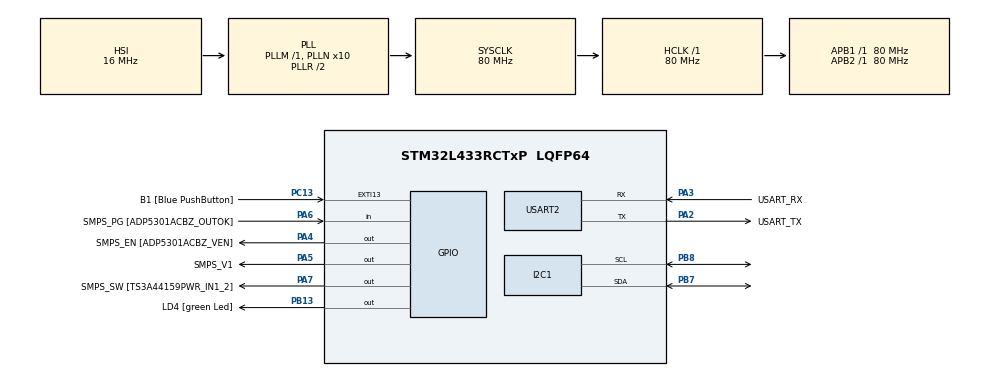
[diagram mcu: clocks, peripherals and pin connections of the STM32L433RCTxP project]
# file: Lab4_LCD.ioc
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I2C1.Timing=0x10D19CE4
Mcu.Family=STM32L4
Mcu.Name=STM32L433RCTxP
Mcu.Package=LQFP64
NVIC.PriorityGroup=NVIC_PRIORITYGROUP_4
NVIC.TIM2_IRQn=true\:0\:0\:false\:false\:true\:true\:true\:true
NVIC.TIM6_DAC_IRQn=true\:0\:0\:false\:false\:true\:true\:true\:true
PA13\ (JTMS-SWDIO).GPIO_Label=TMS
PA13\ (JTMS-SWDIO).Mode=Serial_Wire
PA13\ (JTMS-SWDIO).Signal=SYS_JTMS-SWDIO
PA14\ (JTCK-SWCLK).GPIO_Label=TCK
PA14\ (JTCK-SWCLK).Mode=Serial_Wire
PA14\ (JTCK-SWCLK).Signal=SYS_JTCK-SWCLK
PA2.GPIO_Label=USART_TX
PA2.GPIO_Mode=GPIO_MODE_AF_PP
PA2.GPIO_PuPd=GPIO_NOPULL
PA2.GPIO_Speed=GPIO_SPEED_FREQ_VERY_HIGH
PA2.Mode=Asynchronous
PA2.Signal=USART2_TX
PA3.GPIO_Label=USART_RX
PA3.GPIO_Mode=GPIO_MODE_AF_PP
PA3.GPIO_PuPd=GPIO_NOPULL
PA3.GPIO_Speed=GPIO_SPEED_FREQ_VERY_HIGH
PA3.Mode=Asynchronous
PA3.Signal=USART2_RX
PA4.GPIO_Label=SMPS_EN [ADP5301ACBZ_VEN]
PA4.Signal=GPIO_Output
PA5.GPIO_Label=SMPS_V1
PA5.GPIO_ModeDefaultOutputPP=GPIO_MODE_OUTPUT_PP
PA5.GPIO_PuPd=GPIO_NOPULL
PA5.GPIO_Speed=GPIO_SPEED_FREQ_LOW
PA5.Signal=GPIO_Output
PA6.GPIO_Label=SMPS_PG [ADP5301ACBZ_OUTOK]
PA6.GPIO_PuPd=GPIO_PULLUP
PA6.Signal=GPIO_Input
PA7.GPIO_Label=SMPS_SW [TS3A44159PWR_IN1_2]
PA7.Signal=GPIO_Output
PB13.GPIO_Label=LD4 [green Led]
PB13.Signal=GPIO_Output
PB3\ (JTDO-TRACESWO).GPIO_Label=SWO
PB3\ (JTDO-TRACESWO).Signal=SYS_JTDO-SWO
PB7.Mode=I2C
PB7.Signal=I2C1_SDA
PB8.Mode=I2C
PB8.Signal=I2C1_SCL
PC13.GPIO_Label=B1 [Blue PushButton]
PC13.GPIO_ModeDefaultEXTI=GPIO_MODE_IT_FALLING
PC13.GPIO_PuPd=GPIO_NOPULL
PC13.Signal=GPXTI13
PC14-OSC32_IN\ (PC14).Mode=LSE-External-Oscillator
PC14-OSC32_IN\ (PC14).Signal=RCC_OSC32_IN
PC15-OSC32_OUT\ (PC15).Mode=LSE-External-Oscillator
PC15-OSC32_OUT\ (PC15).Signal=RCC_OSC32_OUT
PH0-OSC_IN\ (PH0).GPIO_Label=MCO
PH0-OSC_IN\ (PH0).Mode=HSE-External-Clock-Source
PH0-OSC_IN\ (PH0).Signal=RCC_OSC_IN
PH1-OSC_OUT\ (PH1).Signal=RCC_OSC_OUT
ProjectManager.HeapSize=0x200
ProjectManager.StackSize=0x400
ProjectManager.TargetToolchain=STM32CubeIDE
RCC.ADCFreq_Value=64000000
RCC.AHBFreq_Value=80000000
RCC.APB1Freq_Value=80000000
RCC.APB1TimFreq_Value=80000000
RCC.APB2Freq_Value=80000000
RCC.APB2TimFreq_Value=80000000
RCC.CortexFreq_Value=80000000
RCC.HCLKFreq_Value=80000000
RCC.HSE_VALUE=8000000
RCC.HSI48_VALUE=48000000
RCC.HSI_VALUE=16000000
RCC.MSI_VALUE=4000000
RCC.PLLN=10
RCC.PLLSourceVirtual=RCC_PLLSOURCE_HSI
RCC.PREFETCH_ENABLE=1
RCC.SYSCLKFreq_VALUE=80000000
RCC.SYSCLKSource=RCC_SYSCLKSOURCE_PLLCLK
RCC.USBFreq_Value=64000000
RCC.VCOOutputFreq_Value=160000000
TIM2.AutoReloadPreload=TIM_AUTORELOAD_PRELOAD_DISABLE
TIM2.Period=4000000000
TIM2.Prescaler=0
TIM6.Period=9999
TIM6.Prescaler=7999
USART2.VirtualMode-Asynchronous=VM_ASYNC
VP_TIM2_VS_ClockSourceINT.Mode=Internal
VP_TIM6_VS_ClockSourceINT.Mode=Enable_Timer
board=NUCLEO-L433RC-P

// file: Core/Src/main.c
/* USER CODE BEGIN Header */
/**
  ******************************************************************************
  * @file           : main.c
  * @brief          : Main program body
  ******************************************************************************
  * @attention
  *
  * Copyright (c) 2025 STMicroelectronics.
  * All rights reserved.
  *
  * This software is licensed under terms that can be found in the LICENSE file
  * in the root directory of this software component.
  * If no LICENSE file comes with this software, it is provided AS-IS.
  *
  ******************************************************************************
  */
/* USER CODE END Header */
#include "main.h"

/* USER CODE BEGIN Includes */
#include <stdio.h>
#include "lcd.h"
#include <string.h>
/* USER CODE END Includes */

/* USER CODE BEGIN PTD */
struct clock_data {
	/* clock variabler */

	int hours;
	int minutes;
	int seconds;
};

struct clock_data my_clock;

/* USER CODE END PTD */

I2C_HandleTypeDef hi2c1;

TIM_HandleTypeDef htim2;
TIM_HandleTypeDef htim6;

UART_HandleTypeDef huart2;

void SystemClock_Config(void);
static void MX_GPIO_Init(void);
static void MX_USART2_UART_Init(void);
static void MX_TIM2_Init(void);
static void MX_I2C1_Init(void);
static void MX_TIM6_Init(void);
/* USER CODE BEGIN PFP */

void cd_tick(struct clock_data * pcd);
void HAL_TIM_PeriodElapsedCallback(TIM_HandleTypeDef *htim);
void uart_print_cd(	UART_HandleTypeDef * huart, struct clock_data * pcd);

void wait_for_button_press();

void cd_set(struct clock_data * pcd, uint8_t hrs, uint8_t min, uint8_t sec);

/* USER CODE END PFP */

/* USER CODE BEGIN 0 */

void cd_set(struct clock_data * pcd, uint8_t hrs, uint8_t min, uint8_t sec)
{
	pcd->hours 		= hrs;
	pcd->minutes 	= min;
	pcd->seconds	= sec;
}

void wait_for_button_press()
{
	while(!HAL_GPIO_ReadPin(B1_GPIO_Port, B1_Pin)) {
		/* do nothing */
	}
}

int flag = 0;

void cd_tick(struct clock_data * pcd)
{
	uint8_t seconds = pcd->seconds;
	uint8_t minutes = pcd->minutes;
	uint8_t hours 	= pcd->hours;

	seconds++;
	if (seconds > 59) {
		seconds = 0;
  		minutes++;
		if (minutes > 59) {
  			minutes = 0;
		  	hours++;
			if (hours > 23) {
				hours = 0;
		  	}
		}
	}

	cd_set(pcd, hours, minutes, seconds);
}

void uart_print_cd(	UART_HandleTypeDef * huart, struct clock_data * pcd)
{
	char str[10];
	sprintf(str, "%02d:%02d:%02d\r", pcd->hours, pcd->minutes, pcd->seconds);
	HAL_UART_Transmit(&huart2, (uint8_t*) str, strlen(str), HAL_MAX_DELAY);
}

void HAL_TIM_PeriodElapsedCallback(TIM_HandleTypeDef *htim)
{
  if (htim->Instance == TIM6)
  {
	  //flag = 1;
	  cd_tick(&my_clock);
  }
}
/* USER CODE END 0 */

int main(void)
{

  /* MCU Configuration--------------------------------------------------------*/

  /* Reset of all peripherals, Initializes the Flash interface and the Systick. */
  HAL_Init();

  /* Configure the system clock */
  SystemClock_Config();

  /* Initialize all configured peripherals */
  MX_GPIO_Init();
  MX_USART2_UART_Init();
  MX_TIM2_Init();
  MX_I2C1_Init();
  MX_TIM6_Init();

  /* Infinite loop */
  /* USER CODE BEGIN WHILE */
  TextLCDType lcd;
  TextLCD_Init(&lcd, &hi2c1, 0x4E);
  HAL_TIM_Base_Start_IT(&htim6);

  //char c = 0;
  //const char ASCII_CAPITAL_OFFSET = 'A';
  //const char LETTERS_TOTAL = 'Z' - 'A';

  cd_set(&my_clock, 23, 59, 45);

  while (1)
  {
    /* USER CODE END WHILE */

    /* USER CODE BEGIN 3 */

	//wait_for_button_press();
	//TextLCD_PutChar(&lcd, c + ASCII_CAPITAL_OFFSET);
	//c = (c + 1) % LETTERS_TOTAL;

	  /*
	if (flag == 1) {
		cd_tick(&my_clock);
		uart_print_cd(&huart2, &my_clock);
		//wait_for_button_press();
		TextLCD_Position(&lcd, 8, 1);

		char str[10];
		sprintf(str, "%02d:%02d:%02d", my_clock.hours, my_clock.minutes, my_clock.seconds);
		TextLCD_PutStr(&lcd, str);
		flag = 0;
	}
	*/
	TextLCD_Position(&lcd, 8, 1);
	uart_print_cd(&huart2, &my_clock);

	char str[10];
	sprintf(str, "%02d:%02d:%02d", my_clock.hours, my_clock.minutes, my_clock.seconds);
	TextLCD_PutStr(&lcd, str);

  }

  /* USER CODE END 3 */
}

void SystemClock_Config(void)
{
  RCC_OscInitTypeDef RCC_OscInitStruct = {0};
  RCC_ClkInitTypeDef RCC_ClkInitStruct = {0};

  /** Configure the main internal regulator output voltage
  */
  if (HAL_PWREx_ControlVoltageScaling(PWR_REGULATOR_VOLTAGE_SCALE1) != HAL_OK)
  {
    Error_Handler();
  }

  /** Initializes the RCC Oscillators according to the specified parameters
  * in the RCC_OscInitTypeDef structure.
  */
  RCC_OscInitStruct.OscillatorType = RCC_OSCILLATORTYPE_HSI;
  RCC_OscInitStruct.HSIState = RCC_HSI_ON;
  RCC_OscInitStruct.HSICalibrationValue = RCC_HSICALIBRATION_DEFAULT;
  RCC_OscInitStruct.PLL.PLLState = RCC_PLL_ON;
  RCC_OscInitStruct.PLL.PLLSource = RCC_PLLSOURCE_HSI;
  RCC_OscInitStruct.PLL.PLLM = 1;
  RCC_OscInitStruct.PLL.PLLN = 10;
  RCC_OscInitStruct.PLL.PLLP = RCC_PLLP_DIV7;
  RCC_OscInitStruct.PLL.PLLQ = RCC_PLLQ_DIV2;
  RCC_OscInitStruct.PLL.PLLR = RCC_PLLR_DIV2;
  if (HAL_RCC_OscConfig(&RCC_OscInitStruct) != HAL_OK)
  {
    Error_Handler();
  }

  /** Initializes the CPU, AHB and APB buses clocks
  */
  RCC_ClkInitStruct.ClockType = RCC_CLOCKTYPE_HCLK|RCC_CLOCKTYPE_SYSCLK
                              |RCC_CLOCKTYPE_PCLK1|RCC_CLOCKTYPE_PCLK2;
  RCC_ClkInitStruct.SYSCLKSource = RCC_SYSCLKSOURCE_PLLCLK;
  RCC_ClkInitStruct.AHBCLKDivider = RCC_SYSCLK_DIV1;
  RCC_ClkInitStruct.APB1CLKDivider = RCC_HCLK_DIV1;
  RCC_ClkInitStruct.APB2CLKDivider = RCC_HCLK_DIV1;

  if (HAL_RCC_ClockConfig(&RCC_ClkInitStruct, FLASH_LATENCY_4) != HAL_OK)
  {
    Error_Handler();
  }
}

static void MX_I2C1_Init(void)
{

  hi2c1.Instance = I2C1;
  hi2c1.Init.Timing = 0x10D19CE4;
  hi2c1.Init.OwnAddress1 = 0;
  hi2c1.Init.AddressingMode = I2C_ADDRESSINGMODE_7BIT;
  hi2c1.Init.DualAddressMode = I2C_DUALADDRESS_DISABLE;
  hi2c1.Init.OwnAddress2 = 0;
  hi2c1.Init.OwnAddress2Masks = I2C_OA2_NOMASK;
  hi2c1.Init.GeneralCallMode = I2C_GENERALCALL_DISABLE;
  hi2c1.Init.NoStretchMode = I2C_NOSTRETCH_DISABLE;
  if (HAL_I2C_Init(&hi2c1) != HAL_OK)
  {
    Error_Handler();
  }

  /** Configure Analogue filter
  */
  if (HAL_I2CEx_ConfigAnalogFilter(&hi2c1, I2C_ANALOGFILTER_ENABLE) != HAL_OK)
  {
    Error_Handler();
  }

  /** Configure Digital filter
  */
  if (HAL_I2CEx_ConfigDigitalFilter(&hi2c1, 0) != HAL_OK)
  {
    Error_Handler();
  }

}

static void MX_TIM2_Init(void)
{

  TIM_ClockConfigTypeDef sClockSourceConfig = {0};
  TIM_MasterConfigTypeDef sMasterConfig = {0};

  htim2.Instance = TIM2;
  htim2.Init.Prescaler = 0;
  htim2.Init.CounterMode = TIM_COUNTERMODE_UP;
  htim2.Init.Period = 4000000000;
  htim2.Init.ClockDivision = TIM_CLOCKDIVISION_DIV1;
  htim2.Init.AutoReloadPreload = TIM_AUTORELOAD_PRELOAD_DISABLE;
  if (HAL_TIM_Base_Init(&htim2) != HAL_OK)
  {
    Error_Handler();
  }
  sClockSourceConfig.ClockSource = TIM_CLOCKSOURCE_INTERNAL;
  if (HAL_TIM_ConfigClockSource(&htim2, &sClockSourceConfig) != HAL_OK)
  {
    Error_Handler();
  }
  sMasterConfig.MasterOutputTrigger = TIM_TRGO_RESET;
  sMasterConfig.MasterSlaveMode = TIM_MASTERSLAVEMODE_DISABLE;
  if (HAL_TIMEx_MasterConfigSynchronization(&htim2, &sMasterConfig) != HAL_OK)
  {
    Error_Handler();
  }

}

static void MX_TIM6_Init(void)
{

  TIM_MasterConfigTypeDef sMasterConfig = {0};

  htim6.Instance = TIM6;
  htim6.Init.Prescaler = 7999;
  htim6.Init.CounterMode = TIM_COUNTERMODE_UP;
  htim6.Init.Period = 9999;
  htim6.Init.AutoReloadPreload = TIM_AUTORELOAD_PRELOAD_DISABLE;
  if (HAL_TIM_Base_Init(&htim6) != HAL_OK)
  {
    Error_Handler();
  }
  sMasterConfig.MasterOutputTrigger = TIM_TRGO_RESET;
  sMasterConfig.MasterSlaveMode = TIM_MASTERSLAVEMODE_DISABLE;
  if (HAL_TIMEx_MasterConfigSynchronization(&htim6, &sMasterConfig) != HAL_OK)
  {
    Error_Handler();
  }

}

static void MX_USART2_UART_Init(void)
{

  huart2.Instance = USART2;
  huart2.Init.BaudRate = 115200;
  huart2.Init.WordLength = UART_WORDLENGTH_8B;
  huart2.Init.StopBits = UART_STOPBITS_1;
  huart2.Init.Parity = UART_PARITY_NONE;
  huart2.Init.Mode = UART_MODE_TX_RX;
  huart2.Init.HwFlowCtl = UART_HWCONTROL_NONE;
  huart2.Init.OverSampling = UART_OVERSAMPLING_16;
  huart2.Init.OneBitSampling = UART_ONE_BIT_SAMPLE_DISABLE;
  huart2.AdvancedInit.AdvFeatureInit = UART_ADVFEATURE_NO_INIT;
  if (HAL_UART_Init(&huart2) != HAL_OK)
  {
    Error_Handler();
  }

}

static void MX_GPIO_Init(void)
{
  GPIO_InitTypeDef GPIO_InitStruct = {0};

  /* GPIO Ports Clock Enable */
  __HAL_RCC_GPIOC_CLK_ENABLE();
  __HAL_RCC_GPIOH_CLK_ENABLE();
  __HAL_RCC_GPIOA_CLK_ENABLE();
  __HAL_RCC_GPIOB_CLK_ENABLE();

  /*Configure GPIO pin Output Level */
  HAL_GPIO_WritePin(GPIOA, SMPS_EN_Pin|SMPS_V1_Pin|SMPS_SW_Pin, GPIO_PIN_RESET);

  /*Configure GPIO pin Output Level */
  HAL_GPIO_WritePin(LD4_GPIO_Port, LD4_Pin, GPIO_PIN_RESET);

  /*Configure GPIO pin : B1_Pin */
  GPIO_InitStruct.Pin = B1_Pin;
  GPIO_InitStruct.Mode = GPIO_MODE_IT_FALLING;
  GPIO_InitStruct.Pull = GPIO_NOPULL;
  HAL_GPIO_Init(B1_GPIO_Port, &GPIO_InitStruct);

  /*Configure GPIO pins : SMPS_EN_Pin SMPS_V1_Pin SMPS_SW_Pin */
  GPIO_InitStruct.Pin = SMPS_EN_Pin|SMPS_V1_Pin|SMPS_SW_Pin;
  GPIO_InitStruct.Mode = GPIO_MODE_OUTPUT_PP;
  GPIO_InitStruct.Pull = GPIO_NOPULL;
  GPIO_InitStruct.Speed = GPIO_SPEED_FREQ_LOW;
  HAL_GPIO_Init(GPIOA, &GPIO_InitStruct);

  /*Configure GPIO pin : SMPS_PG_Pin */
  GPIO_InitStruct.Pin = SMPS_PG_Pin;
  GPIO_InitStruct.Mode = GPIO_MODE_INPUT;
  GPIO_InitStruct.Pull = GPIO_PULLUP;
  HAL_GPIO_Init(SMPS_PG_GPIO_Port, &GPIO_InitStruct);

  /*Configure GPIO pin : LD4_Pin */
  GPIO_InitStruct.Pin = LD4_Pin;
  GPIO_InitStruct.Mode = GPIO_MODE_OUTPUT_PP;
  GPIO_InitStruct.Pull = GPIO_NOPULL;
  GPIO_InitStruct.Speed = GPIO_SPEED_FREQ_LOW;
  HAL_GPIO_Init(LD4_GPIO_Port, &GPIO_InitStruct);

}

void Error_Handler(void)
{
  __disable_irq();
  while (1)
  {
  }
}
